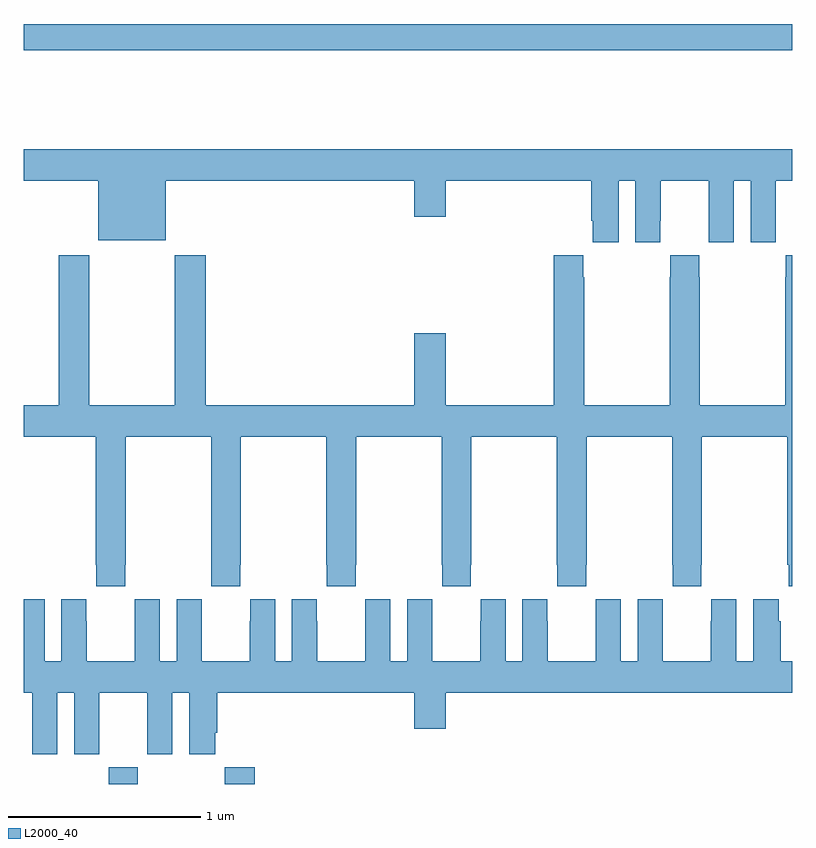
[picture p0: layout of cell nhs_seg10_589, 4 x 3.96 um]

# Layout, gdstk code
import gdstk
lib = gdstk.Library(unit=1e-6, precision=1e-09)
def R(c, l, rs):  # rectangles x0, y0, x1, y1
    for r in rs: c.add(gdstk.rectangle(r[:2], r[2:], *l))
def P(c, l, *ps):  # polygons
    for p in ps: c.add(gdstk.Polygon(p, *l))
L2000_40 = (2000, 40)

nhs_seg10_589 = lib.new_cell('nhs_seg10_589')
R(nhs_seg10_589, L2000_40, [(139.443,1306.5,139.593,1306.588), (140.047,1306.5,140.201,1306.588), (139,1310.32,143,1310.456)])
P(nhs_seg10_589, L2000_40, [(139,1309.64),(139.388,1309.64),(139.388,1309.331),(139.738,1309.331),(139.738,1309.64),(141.032,1309.64),(141.032,1309.452),(141.196,1309.452),(141.196,1309.64),(141.953,1309.64),(141.953,1309.432),(141.962,1309.432),(141.962,1309.32),(142.096,1309.32),(142.096,1309.64),(142.184,1309.64),(142.184,1309.32),(142.314,1309.32),(142.314,1309.432),(142.315,1309.432),(142.315,1309.64),(142.565,1309.64),(142.565,1309.432),(142.566,1309.432),(142.566,1309.32),(142.696,1309.32),(142.696,1309.64),(142.784,1309.64),(142.784,1309.32),(142.914,1309.32),(142.914,1309.432),(142.915,1309.432),(142.915,1309.64),(143,1309.64),(143,1309.804),(139,1309.804)],
  [(139.341,1309.252),(139.181,1309.252),(139.181,1308.472),(139,1308.472),(139,1308.308),(139.375,1308.308),(139.375,1307.641),(139.377,1307.641),(139.377,1307.529),(139.527,1307.529),(139.527,1307.641),(139.53,1307.641),(139.53,1308.308),(139.975,1308.308),(139.975,1307.641),(139.977,1307.641),(139.977,1307.529),(140.127,1307.529),(140.127,1307.641),(140.13,1307.641),(140.13,1308.308),(140.575,1308.308),(140.575,1307.641),(140.577,1307.641),(140.577,1307.529),(140.727,1307.529),(140.727,1307.641),(140.73,1307.641),(140.73,1308.308),(141.175,1308.308),(141.175,1307.641),(141.177,1307.641),(141.177,1307.529),(141.327,1307.529),(141.327,1307.641),(141.33,1307.641),(141.33,1308.308),(141.775,1308.308),(141.775,1307.641),(141.777,1307.641),(141.777,1307.529),(141.927,1307.529),(141.927,1307.641),(141.93,1307.641),(141.93,1308.308),(142.375,1308.308),(142.375,1307.641),(142.377,1307.641),(142.377,1307.529),(142.527,1307.529),(142.527,1307.641),(142.53,1307.641),(142.53,1308.308),(142.975,1308.308),(142.975,1307.641),(142.981,1307.641),(142.981,1307.529),(143,1307.529),(143,1309.252),(142.965,1309.252),(142.965,1309.139),(142.963,1309.139),(142.963,1308.472),(142.518,1308.472),(142.518,1309.139),(142.515,1309.139),(142.515,1309.252),(142.365,1309.252),(142.365,1309.139),(142.363,1309.139),(142.363,1308.472),(141.918,1308.472),(141.918,1309.139),(141.911,1309.139),(141.911,1309.252),(141.758,1309.252),(141.758,1308.472),(141.196,1308.472),(141.196,1308.847),(141.032,1308.847),(141.032,1308.472),(139.946,1308.472),(139.946,1309.252),(139.786,1309.252),(139.786,1308.472),(139.341,1308.472)],
  [(139.643,1306.768),(139.644,1306.768),(139.644,1306.656),(139.774,1306.656),(139.774,1306.976),(139.862,1306.976),(139.862,1306.656),(139.996,1306.656),(139.996,1306.768),(140.006,1306.768),(140.006,1306.976),(141.032,1306.976),(141.032,1306.788),(141.196,1306.788),(141.196,1306.976),(143,1306.976),(143,1307.14),(142.94,1307.14),(142.94,1307.348),(142.93,1307.348),(142.93,1307.461),(142.796,1307.461),(142.796,1307.14),(142.708,1307.14),(142.708,1307.461),(142.578,1307.461),(142.578,1307.348),(142.577,1307.348),(142.577,1307.14),(142.327,1307.14),(142.327,1307.348),(142.326,1307.348),(142.326,1307.461),(142.196,1307.461),(142.196,1307.14),(142.108,1307.14),(142.108,1307.461),(141.978,1307.461),(141.978,1307.348),(141.977,1307.348),(141.977,1307.14),(141.727,1307.14),(141.727,1307.348),(141.726,1307.348),(141.726,1307.461),(141.596,1307.461),(141.596,1307.14),(141.508,1307.14),(141.508,1307.461),(141.378,1307.461),(141.378,1307.348),(141.377,1307.348),(141.377,1307.14),(141.127,1307.14),(141.127,1307.348),(141.126,1307.348),(141.126,1307.461),(140.996,1307.461),(140.996,1307.14),(140.908,1307.14),(140.908,1307.461),(140.778,1307.461),(140.778,1307.348),(140.777,1307.348),(140.777,1307.14),(140.527,1307.14),(140.527,1307.348),(140.526,1307.348),(140.526,1307.461),(140.396,1307.461),(140.396,1307.14),(140.308,1307.14),(140.308,1307.461),(140.178,1307.461),(140.178,1307.348),(140.177,1307.348),(140.177,1307.14),(139.927,1307.14),(139.927,1307.348),(139.926,1307.348),(139.926,1307.461),(139.796,1307.461),(139.796,1307.14),(139.708,1307.14),(139.708,1307.461),(139.578,1307.461),(139.578,1307.348),(139.577,1307.348),(139.577,1307.14),(139.327,1307.14),(139.327,1307.348),(139.326,1307.348),(139.326,1307.461),(139.196,1307.461),(139.196,1307.14),(139.108,1307.14),(139.108,1307.461),(139,1307.461),(139,1306.976),(139.043,1306.976),(139.043,1306.768),(139.044,1306.768),(139.044,1306.656),(139.174,1306.656),(139.174,1306.976),(139.262,1306.976),(139.262,1306.656),(139.392,1306.656),(139.392,1306.768),(139.393,1306.768),(139.393,1306.976),(139.643,1306.976)])

lib.write_gds('nhs_seg10_589.gds')
